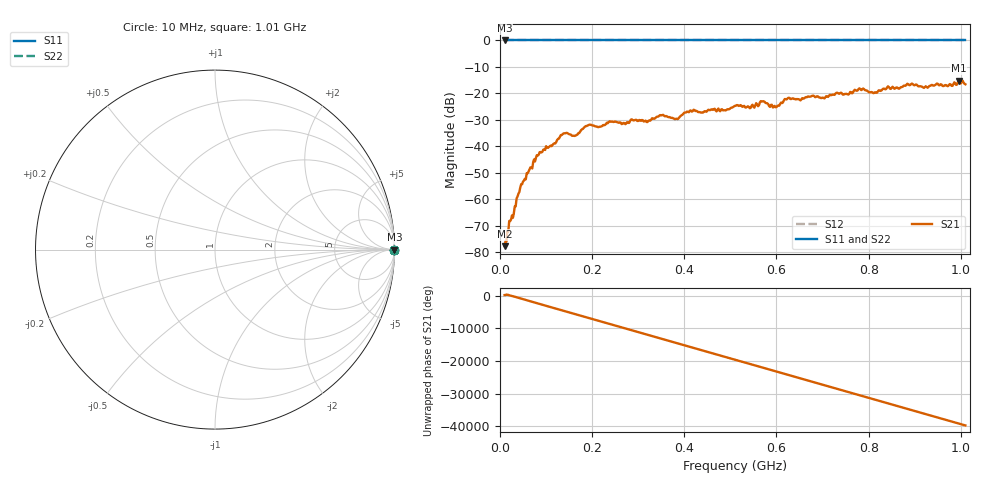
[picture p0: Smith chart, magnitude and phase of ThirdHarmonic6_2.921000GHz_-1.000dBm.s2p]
! 8/17/2025 8:07:51 AM
! C:\ANRITSUVNA\TEMP\TEMP.S2P
! CHANNEL.1
! TR.MEASUREMENT
! RAW.DATA
! RF.CORRECTION.OFF
! AVERAGING.OFF
! IF.BANDWIDTH: 5KHZ
! SWEEPTYPE:  FREQ.SWEEP(Linear)
! Reference Plane Port Info
! PORT:  PORT1  PORT2
! DISTANCE:  0  m  0  m
! TIME:  0  s  0  s
! PHASE.OFFSET:  0  deg.  0  deg.
! LOSS:  0  dB  0  dB
! REF.LOSS:  0  dB  0  dB
! REF.FREQ:  0  Hz  0  Hz
! Power Info
! POWER:  -20  dBm  -20  dBm
! EFF.POWER:  -20  dBm  -20  dBm
! SOURCE.ATTEN:  0  dB  0  dB
! TEST.ATTEN:  0  dB  0  dB
# GHZ S RI R 50.0
! FREQ.GHZ  S11RE  S11IM  S21RE  S21IM  S12RE  S12IM  S22RE  S22IM
!; PortSelection: Port_12
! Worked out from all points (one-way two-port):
!   501 points, 10 MHz to 1.01 GHz, reference 50 ohm
!   highest |S21| = -15.14 dB at 996 MHz (marker M1); lowest = -77.7 dB at 10 MHz (marker M2)
!   lowest |S11| = 0.0 dB at 10 MHz (marker M3)
!   |S11| at or under -10 dB: nowhere
!   |S22| runs from 0.0 to 0.0 dB; largest |S21 - S12| = 1.2
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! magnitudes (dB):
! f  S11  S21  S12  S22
! 10 MHz  0.0  -77.7  0.0  0.0
! 42 MHz  0.0  -57.3  0.0  0.0
! 82 MHz  0.0  -43.5  0.0  0.0
! 136 MHz  0.0  -35.5  0.0  0.0
! 162 MHz  0.0  -36.1  0.0  0.0
! 178 MHz  0.0  -33.6  0.0  0.0
! 322 MHz  0.0  -30.4  0.0  0.0
! 344 MHz  0.0  -28.7  0.0  0.0
! 382 MHz  0.0  -29.6  0.0  0.0
! 416 MHz  0.0  -26.9  0.0  0.0
! 510 MHz  0.0  -24.7  0.0  0.0
! 540 MHz  0.0  -25.1  0.0  0.0
! 570 MHz  0.0  -23.0  0.0  0.0
! 596 MHz  0.0  -24.7  0.0  0.0
! 622 MHz  0.0  -22.3  0.0  0.0
! 678 MHz  0.0  -20.9  0.0  0.0
! 702 MHz  0.0  -21.7  0.0  0.0
! 784 MHz  0.0  -18.8  0.0  0.0
! 814 MHz  0.0  -19.6  0.0  0.0
! 844 MHz  0.0  -17.6  0.0  0.0
! 996 MHz  0.0  -15.1  0.0  0.0
! 1.01 GHz  0.0  -16.6  0.0  0.0
